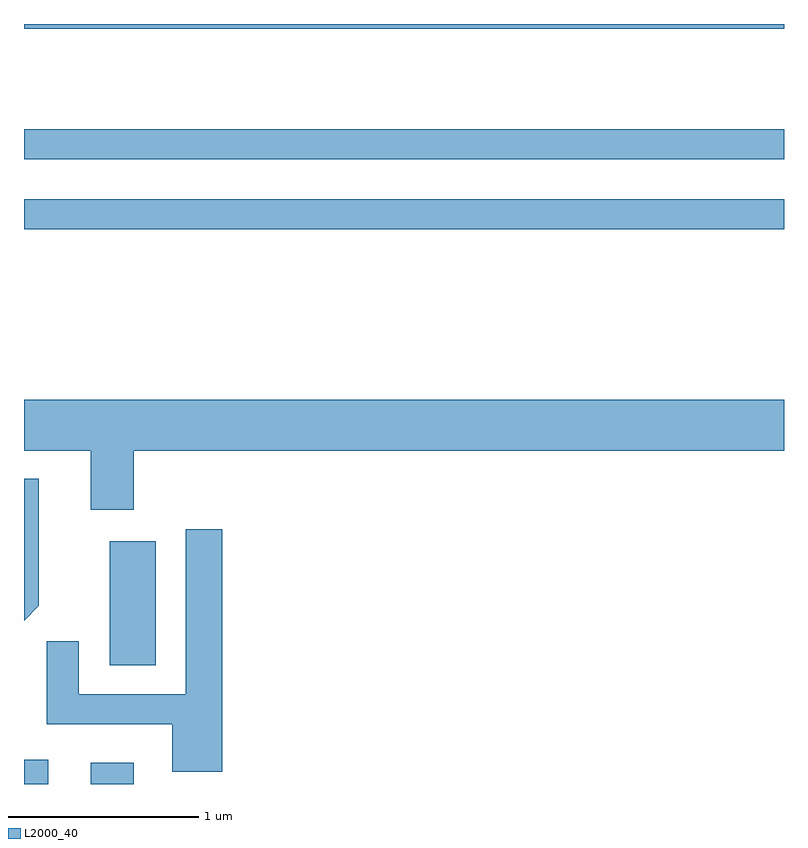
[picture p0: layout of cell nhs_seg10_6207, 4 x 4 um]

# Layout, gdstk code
import gdstk
lib = gdstk.Library(unit=1e-6, precision=1e-09)
def R(c, l, rs):  # rectangles x0, y0, x1, y1
    for r in rs: c.add(gdstk.rectangle(r[:2], r[2:], *l))
def P(c, l, *ps):  # polygons
    for p in ps: c.add(gdstk.Polygon(p, *l))
L2000_40 = (2000, 40)

nhs_seg10_6207 = lib.new_cell('nhs_seg10_6207')
R(nhs_seg10_6207, L2000_40, [(367.611,2196.522,367.738,2196.649), (367.961,2196.522,368.189,2196.634), (368.061,2197.146,368.304,2197.799), (367.611,2199.441,371.611,2199.599), (367.611,2199.811,371.611,2199.969), (367.611,2200.496,371.611,2200.522)])
P(nhs_seg10_6207, L2000_40, [(368.189,2198.276),(371.611,2198.276),(371.611,2198.544),(367.611,2198.544),(367.611,2198.276),(367.961,2198.276),(367.961,2197.966),(368.189,2197.966)],
  [(367.689,2197.459),(367.689,2198.128),(367.611,2198.128),(367.611,2197.381)],
  [(368.654,2197.864),(368.461,2197.864),(368.461,2196.994),(367.899,2196.994),(367.899,2197.273),(367.731,2197.273),(367.731,2196.836),(368.391,2196.836),(368.391,2196.586),(368.654,2196.586)])

lib.write_gds('nhs_seg10_6207.gds')
